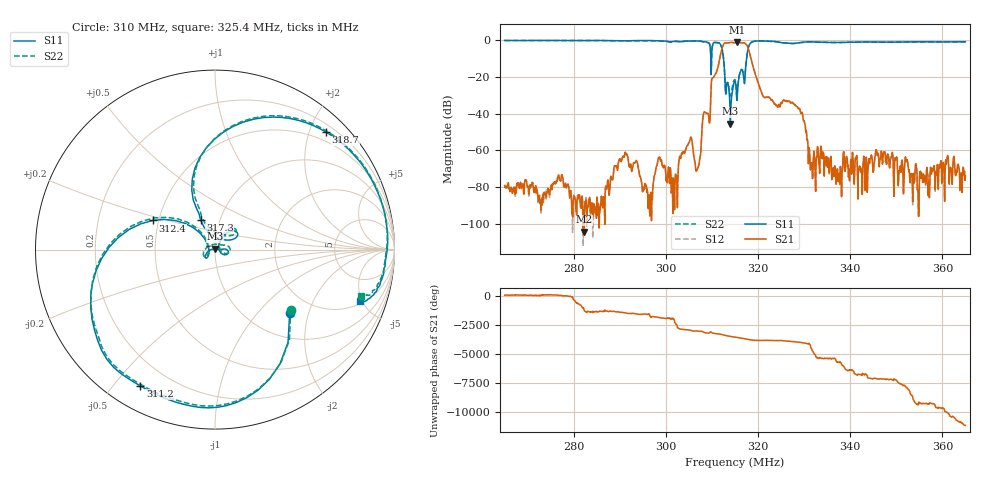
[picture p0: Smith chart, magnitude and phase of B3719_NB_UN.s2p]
! S-Parameter for B3719 in Touchstone format with Magnitude (lin) and Phase
! Normalised impedance: 50 Ohm. Measurement system: 50 Ohm. Ta=25°C
! B3719_SB.S2P not matched. Measurement full 2-port calibrated incl. Port.Ext.
! Start: 265MHz, Stop: 365MHz, Span 100MHz, 1601 Pts., Step 625kHz
! Date: 10/12/2007 - EPCOS COM WT AE PD; AB
# MHZ S MA R 50
! freq  magS11 angS11  magS21 angS21  magS12 angS12  magS22 angS22
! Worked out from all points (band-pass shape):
!   1601 points, 265 MHz to 365 MHz, reference 50 ohm
!   highest |S21| = -1.01 dB at 315.4 MHz (marker M1); lowest = -104.5 dB at 282.2 MHz (marker M2)
!   |S21| within 3 dB of the highest: 312.2 MHz to 317.8 MHz (5.587 MHz wide, 1.77 % of centre)
!   lowest |S11| = -45.5 dB at 314 MHz (marker M3), VSWR 1.01, Z = 50 + j0.533 ohm
!   |S11| at or under -10 dB: 309.7545 MHz to 309.9227 MHz (168.1 kHz wide, 0.0543 % of centre); 312.5 MHz to 317.5 MHz (5.006 MHz wide, 1.59 % of centre)
!   |S22| runs from -31.0 to -0.1 dB; largest |S21 - S12| = 0.0027
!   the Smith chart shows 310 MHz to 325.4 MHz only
!   S11 on the Smith chart (normalised r, x): 310 MHz: 1.50, -1.52; 311.2 MHz: 0.10, -0.59; 312.4 MHz: 0.46, +0.18; 317.3 MHz: 0.81, +0.28; 318.7 MHz: 0.33, +2.28; 325.4 MHz: 2.26, -4.82
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265  0.9918 -38.8  0.0001082 41.5  0.0001153 43.6  0.9882 -37.6
281.6875  0.9852 -44.0  4.518e-05 174.6  4.135e-05 177.5  0.982 -42.8
282.25  0.9873 -44.2  5.962e-06 179.8  1.012e-05 171.8  0.9831 -43.0
291.1875  0.9673 -49.4  0.0008886 -40.2  0.0008822 -40.5  0.9662 -48.3
296.6875  0.9862 -55.0  6.231e-05 -38.5  5.993e-05 -30.1  0.9811 -53.8
298.375  0.9678 -58.1  0.0006231 -66.3  0.0006141 -66.3  0.9614 -57.0
301.625  0.9302 -60.3  0.0001734 -172.4  0.0001769 -176.4  0.9286 -58.8
305.25  0.9579 -69.6  0.001985 -77.9  0.001976 -78.2  0.9505 -68.8
306.875  0.9665 -79.0  0.0003123 -155.8  0.0003083 -154.7  0.9591 -78.4
310  0.5468 -40.5  0.0916 53.8  0.09132 53.5  0.5398 -38.6
311.25  0.866 -118.7  0.1753 -36.8  0.1749 -36.8  0.8575 -119.2
312.4375  0.3822 154.8  0.7457 -128.5  0.7455 -128.7  0.3777 152.1
314  0.005334 92.1  0.879 101.4  0.8783 101.2  0.0303 91.6
315  0.07576 -14.1  0.8591 38.4  0.858 38.3  0.08461 -6.0
315.375  0.02438 -10.5  0.8902 15.4  0.8891 15.3  0.02838 1.0
317.3125  0.1844 115.9  0.799 -116.4  0.7976 -116.6  0.1986 112.1
318.6875  0.901 46.6  0.2468 145.2  0.246 145.1  0.9032 47.9
325.4375  0.856 -19.4  0.02268 91.6  0.02259 91.5  0.8529 -17.5
329.25  0.8726 -19.6  0.01057 -61.7  0.01051 -61.8  0.8717 -17.5
331.6875  0.909 -24.7  0.0004592 39.4  0.0004564 37.4  0.9066 -22.7
348.375  0.8967 -32.2  0.0005551 -13.1  0.0005544 -12.4  0.8917 -30.6
365  0.914 -36.1  0.0002034 14.8  0.0002056 14.3  0.9107 -34.1
